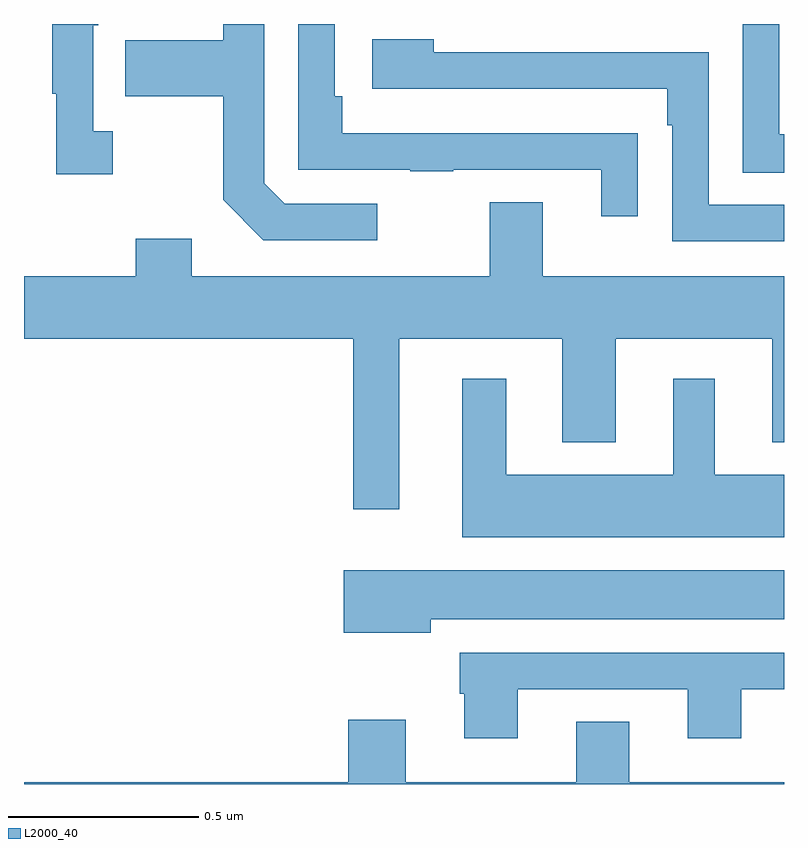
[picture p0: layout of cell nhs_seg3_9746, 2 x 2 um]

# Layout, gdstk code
import gdstk
lib = gdstk.Library(unit=1e-6, precision=1e-09)
def P(c, l, *ps):  # polygons
    for p in ps: c.add(gdstk.Polygon(p, *l))
L2000_40 = (2000, 40)

nhs_seg3_9746 = lib.new_cell('nhs_seg3_9746')
P(nhs_seg3_9746, L2000_40, [(232.234,712.118),(232.182,712.118),(232.182,712.397),(232.195,712.397),(232.195,712.4),(232.074,712.4),(232.074,712.217),(232.085,712.217),(232.085,712.005),(232.234,712.005)],
  [(234,712.11),(233.988,712.11),(233.988,712.4),(233.892,712.4),(233.892,712.009),(234,712.009)],
  [(232.93,711.927),(232.686,711.927),(232.632,711.981),(232.632,712.4),(232.524,712.4),(232.524,712.357),(232.267,712.357),(232.267,712.21),(232.524,712.21),(232.524,711.937),(232.629,711.831),(232.93,711.831)],
  [(233.615,712.112),(233.513,712.112),(233.513,712.113),(232.838,712.113),(232.838,712.21),(232.818,712.21),(232.818,712.4),(232.722,712.4),(232.722,712.017),(233.017,712.017),(233.017,712.012),(233.129,712.012),(233.129,712.017),(233.519,712.017),(233.519,711.894),(233.615,711.894)],
  [(234,711.924),(233.802,711.924),(233.802,712.326),(233.078,712.326),(233.078,712.36),(232.917,712.36),(232.917,712.23),(233.693,712.23),(233.693,712.133),(233.706,712.133),(233.706,711.828),(234,711.828)],
  [(232.987,711.572),(233.417,711.572),(233.417,711.299),(233.557,711.299),(233.557,711.572),(233.969,711.572),(233.969,711.299),(234,711.299),(234,711.736),(233.365,711.736),(233.365,711.931),(233.225,711.931),(233.225,711.736),(232.441,711.736),(232.441,711.835),(232.294,711.835),(232.294,711.736),(232,711.736),(232,711.572),(232.866,711.572),(232.866,711.123),(232.987,711.123)],
  [(234,711.214),(233.818,711.214),(233.818,711.466),(233.708,711.466),(233.708,711.214),(233.269,711.214),(233.269,711.466),(233.153,711.466),(233.153,711.05),(234,711.05)],
  [(233.071,710.834),(234,710.834),(234,710.962),(232.842,710.962),(232.842,710.798),(233.071,710.798)],
  [(233.299,710.649),(233.747,710.649),(233.747,710.52),(233.887,710.52),(233.887,710.649),(234,710.649),(234,710.745),(233.147,710.745),(233.147,710.637),(233.159,710.637),(233.159,710.52),(233.299,710.52)],
  [(234,710.404),(233.593,710.404),(233.593,710.564),(233.453,710.564),(233.453,710.404),(233.005,710.404),(233.005,710.569),(232.853,710.569),(232.853,710.404),(232,710.404),(232,710.4),(234,710.4)])

lib.write_gds('nhs_seg3_9746.gds')
